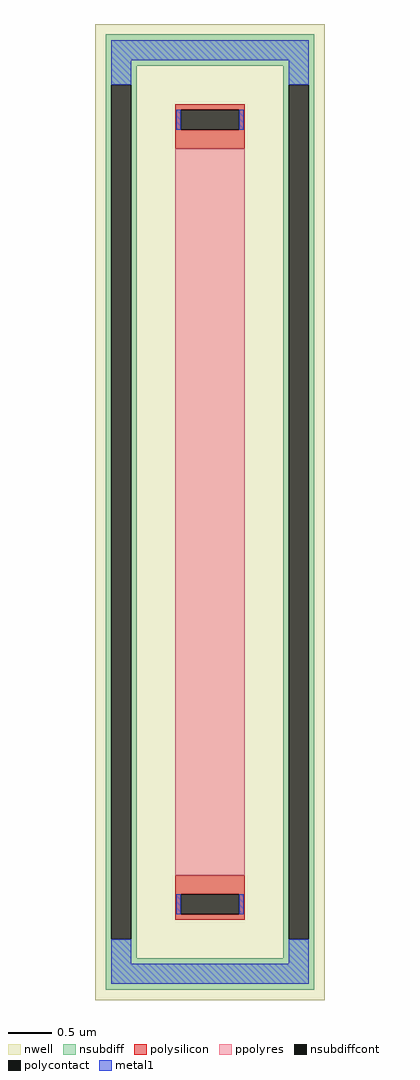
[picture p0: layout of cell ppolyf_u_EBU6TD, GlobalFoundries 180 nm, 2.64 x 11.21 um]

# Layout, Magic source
magic
tech gf180mcuC
magscale 1 10
<< nwell >>
rect -264 -1121 264 1121
<< nsubdiff >>
rect -240 1025 240 1097
rect -240 981 -168 1025
rect -240 -981 -227 981
rect -181 -981 -168 981
rect 168 981 240 1025
rect -240 -1025 -168 -981
rect 168 -981 181 981
rect 227 -981 240 981
rect 168 -1025 240 -981
rect -240 -1097 240 -1025
<< nsubdiffcont >>
rect -227 -981 -181 981
rect 181 -981 227 981
<< polysilicon >>
rect -80 924 80 937
rect -80 878 -67 924
rect 67 878 80 924
rect -80 834 80 878
rect -80 -878 80 -834
rect -80 -924 -67 -878
rect 67 -924 80 -878
rect -80 -937 80 -924
<< polycontact >>
rect -67 878 67 924
rect -67 -924 67 -878
<< ppolyres >>
rect -80 -834 80 834
<< metal1 >>
rect -227 1038 227 1084
rect -227 981 -181 1038
rect 181 981 227 1038
rect -78 878 -67 924
rect 67 878 78 924
rect -78 -924 -67 -878
rect 67 -924 78 -878
rect -227 -1038 -181 -981
rect 181 -1038 227 -981
rect -227 -1084 227 -1038
<< properties >>
string FIXED_BBOX -204 -1061 204 1061
string gencell ppolyf_u
string library gf180mcu
string parameters w 0.8 l 8.343 m 1 nx 1 wmin 0.80 lmin 1.00 rho 315 val 3.6k dummy 0 dw 0.07 term 0.0 sterm 0.0 caplen 0.4 snake 0 glc 1 grc 1 gtc 0 gbc 0 roverlap 0 endcov 100 full_metal 1
<< end >>
